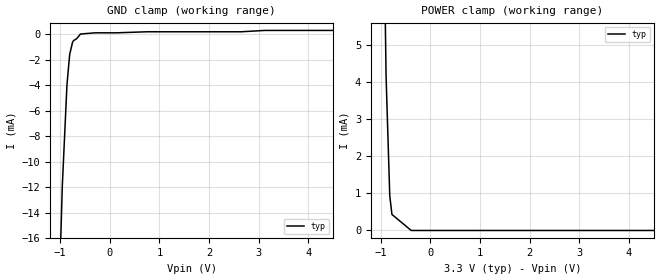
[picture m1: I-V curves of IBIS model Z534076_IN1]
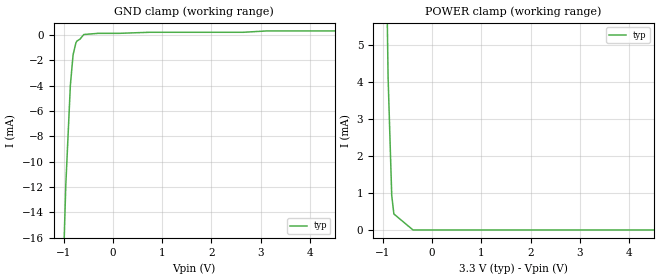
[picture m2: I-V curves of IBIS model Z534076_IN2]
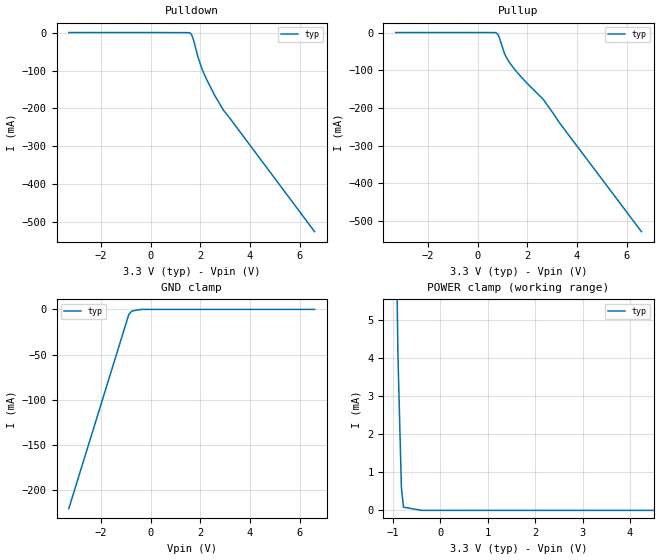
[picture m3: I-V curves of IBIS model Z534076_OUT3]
| YOU ARE ONLY AUTHORIZED TO USE THIS SOFTWARE
| ACCORDING TO LICENSOR'S LICENSE RESTRICTIONS.
[IBIS Ver] 3.1
[File Name] mc100lvel13dw_33.ibs
[File Rev] 3.0
[Source] Derived From mc100lvel17 model
[Date] Monday 2/9/2004
[Copyright]
| (C) COPYRIGHT 1993-2000
| MENTOR GRAPHICS CORPORATION
| ICX STANDARD LIBRARY, ICX PROJECT MODELING,
| ICX CUSTOM MODELING, ICX VENDOR MODEL
| ALL RIGHTS RESERVED.
| THE FOLLOWING ARE TRADEMARKS OR SERVICE MARKS OF
| MENTOR GRAPHICS CORPORATION:ICX (R), ICX STANDARD
| LIBRARY(R), ICX PROJECT MODELING(R), ICX CUSTOM
| MODELING(R), qualityIBIS(TM), MODELVIEWER(TM),
| AND MODELEDITOR(TM)
| ALL COPIES OF SOFTWARE, INCLUDING BUT NOT LIMITED TO
| ANY MODIFICATIONS, ENHANCEMENTS OR DERIVATIVE WORKS,
| MUST CONTAIN ALL MENTOR GRAPHICS CORPORATION'S
| NOTICES AND LEGENDS, INCLUDING THOSE EMBEDDED IN
| SOFTWARE AND THOSE AFFIXED TO SOFTWARE MEDIUM
| AND CONTAINER, AS RECEIVED FROM MENTOR GRAPHICS
| CORPORATION.
|  ZAP Model Builder 2.7
[Component] MC100LVEL13DW_33
[Manufacturer] OnSemiconductor
[Package]
| variable   typ   min   max
R_pkg  .178ohms NA NA
L_pkg  4.43nH NA NA
C_pkg  .62pF NA NA
[Pin] signal_name  model_name  R_pin  L_pin C_pin
1 _Q0a Z534076_OUT3 .178 4.42n .62p
2 Q0a Z534076_OUT3 .182 4.89n .65p
3 VCC POWER .186 5.37n .68p
4 CLKa Z534076_IN1 .174 3.96n .59p
5 _CLKa Z534076_IN2 .17 3.51n .56p
6 CLKb Z534076_IN1 .17 3.51n .56p
7 _CLKb Z534076_IN2 .174 3.96n .59p
8 VCC POWER .186 5.37n .68p
9 _Q0b Z534076_OUT3 .178 4.42n .62p
10 Q0b Z534076_OUT3 .182 4.89n .65p
11 VEE POWER .186 5.37n .68p
12 _Q1b Z534076_OUT3 .182 4.89n .65p
13 Q1b Z534076_OUT3 .178 4.42n .62p
14 _Q2b Z534076_OUT3 .174 3.96n .59p
15 Q2b Z534076_OUT3 .17 3.51n .56p
16 VCC POWER .186 5.37n .68p
17 _Q2a Z534076_OUT3 .17 3.51n .56p
18 Q2a Z534076_OUT3 .174 3.96n .59p
19 _Q1a Z534076_OUT3 .178 4.42n .62p
20 Q1a Z534076_OUT3 .182 4.89n .65p
[Diff Pin] inv_pin vdiff tdelay_typ tdelay_min tdelay_max
1 2 NA .5ns NA NA
4 5 150mv NA NA NA
6 7 150mv NA NA NA
13 12 NA .5ns NA NA
15 14 NA .5ns NA NA
18 17 NA .5ns NA NA
20 19 NA .5ns NA NA
| Models and submodels in the file (3): Z534076_IN1 (Input_ECL), Z534076_IN2 (Input_ECL), Z534076_OUT3 (Output_ECL)
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| (C) COPYRIGHT 1993-2000
| MENTOR GRAPHICS CORPORATION
| ICX STANDARD LIBRARY, ICX PROJECT MODELING,
| ICX CUSTOM MODELING, ICX VENDOR MODEL
| ALL RIGHTS RESERVED.
| THE FOLLOWING ARE TRADEMARKS OR SERVICE MARKS OF
| MENTOR GRAPHICS CORPORATION:ICX (R), ICX STANDARD
| LIBRARY(R), ICX PROJECT MODELING(R), ICX CUSTOM
| MODELING(R), qualityIBIS(TM), MODELVIEWER(TM),
| AND MODELEDITOR(TM)
| ALL COPIES OF SOFTWARE, INCLUDING BUT NOT LIMITED TO
| ANY MODIFICATIONS, ENHANCEMENTS OR DERIVATIVE WORKS,
| MUST CONTAIN ALL MENTOR GRAPHICS CORPORATION'S
| NOTICES AND LEGENDS, INCLUDING THOSE EMBEDDED IN
| SOFTWARE AND THOSE AFFIXED TO SOFTWARE MEDIUM
| AND CONTAINER, AS RECEIVED FROM MENTOR GRAPHICS
| CORPORATION.
| Model Application Version 1.89 2/18/99.
[Model] Z534076_IN1
Model_type Input_ECL
Vinl = 1.825V
Vinh = 2.135V
C_comp 2.000pF NA NA
| variable typ   min   max
[Voltage Range] 3.300V NA NA
[GND Clamp Reference] 0.000V NA NA
[POWER Clamp Reference] 3.300V NA NA
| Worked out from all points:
|   GND clamp passes 1 mA (typ) near -0.77 V on its own axis
|   POWER clamp passes 1 mA (typ) near -0.82 V on its own axis
[GND Clamp]
-3.3V     -423.7mA   NA         NA
-1.044V   -23.23mA   NA         NA
-957mV    -11.84mA   NA         NA
-864mV    -3.967mA   NA         NA
-809.1mV  -1.569mA   NA         NA
-751.9mV  -625.3uA   NA         NA
-732.3mV  -487.5uA   NA         NA
-590.8mV  35.01uA    NA         NA
748.1mV   210.2uA    NA         NA
2.647V    210.2uA    NA         NA
3.122V    316.1uA    NA         NA
6.6V      316.1uA    NA         NA
[POWER Clamp]
-3.3V     757.2mA    NA         NA
-1.069V   27.22mA    NA         NA
-1.005V   14.63mA    NA         NA
-894mV    4.144mA    NA         NA
-820mV    934.9uA    NA         NA
-776mV    432.2uA    NA         NA
-388mV    0A         NA         NA
6.6V      0A         NA         NA
| (C) COPYRIGHT 1993-2000
| MENTOR GRAPHICS CORPORATION
| ICX STANDARD LIBRARY, ICX PROJECT MODELING,
| ICX CUSTOM MODELING, ICX VENDOR MODEL
| ALL RIGHTS RESERVED.
| THE FOLLOWING ARE TRADEMARKS OR SERVICE MARKS OF
| MENTOR GRAPHICS CORPORATION:ICX (R), ICX STANDARD
| LIBRARY(R), ICX PROJECT MODELING(R), ICX CUSTOM
| MODELING(R), qualityIBIS(TM), MODELVIEWER(TM),
| AND MODELEDITOR(TM)
| ALL COPIES OF SOFTWARE, INCLUDING BUT NOT LIMITED TO
| ANY MODIFICATIONS, ENHANCEMENTS OR DERIVATIVE WORKS,
| MUST CONTAIN ALL MENTOR GRAPHICS CORPORATION'S
| NOTICES AND LEGENDS, INCLUDING THOSE EMBEDDED IN
| SOFTWARE AND THOSE AFFIXED TO SOFTWARE MEDIUM
| AND CONTAINER, AS RECEIVED FROM MENTOR GRAPHICS
| CORPORATION.
| Model Application Version 1.89 2/18/99.
[Model] Z534076_IN2
Model_type Input_ECL
Vinl = 2.115V
Vinh = 2.301V
C_comp 2.000pF NA NA
| variable typ   min   max
[Voltage Range] 3.300V NA NA
[GND Clamp Reference] 0.000V NA NA
[POWER Clamp Reference] 3.300V NA NA
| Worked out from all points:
|   GND clamp passes 1 mA (typ) near -0.77 V on its own axis
|   POWER clamp passes 1 mA (typ) near -0.82 V on its own axis
[GND Clamp]
-3.3V     -423.7mA   NA         NA
-1.044V   -23.23mA   NA         NA
-957mV    -11.84mA   NA         NA
-864mV    -3.967mA   NA         NA
-809.1mV  -1.569mA   NA         NA
-751.9mV  -625.3uA   NA         NA
-732.3mV  -487.5uA   NA         NA
-590.8mV  35.01uA    NA         NA
748.1mV   210.2uA    NA         NA
2.647V    210.2uA    NA         NA
3.122V    316.1uA    NA         NA
6.6V      316.1uA    NA         NA
[POWER Clamp]
-3.3V     757.2mA    NA         NA
-1.069V   27.22mA    NA         NA
-1.005V   14.63mA    NA         NA
-894mV    4.144mA    NA         NA
-820mV    934.9uA    NA         NA
-776mV    432.2uA    NA         NA
-388mV    0A         NA         NA
6.6V      0A         NA         NA
| (C) COPYRIGHT 1993-2000
| MENTOR GRAPHICS CORPORATION
| ICX STANDARD LIBRARY, ICX PROJECT MODELING,
| ICX CUSTOM MODELING, ICX VENDOR MODEL
| ALL RIGHTS RESERVED.
| THE FOLLOWING ARE TRADEMARKS OR SERVICE MARKS OF
| MENTOR GRAPHICS CORPORATION:ICX (R), ICX STANDARD
| LIBRARY(R), ICX PROJECT MODELING(R), ICX CUSTOM
| MODELING(R), qualityIBIS(TM), MODELVIEWER(TM),
| AND MODELEDITOR(TM)
| ALL COPIES OF SOFTWARE, INCLUDING BUT NOT LIMITED TO
| ANY MODIFICATIONS, ENHANCEMENTS OR DERIVATIVE WORKS,
| MUST CONTAIN ALL MENTOR GRAPHICS CORPORATION'S
| NOTICES AND LEGENDS, INCLUDING THOSE EMBEDDED IN
| SOFTWARE AND THOSE AFFIXED TO SOFTWARE MEDIUM
| AND CONTAINER, AS RECEIVED FROM MENTOR GRAPHICS
| CORPORATION.
| Model Application Version 1.89 2/18/99.
[Model] Z534076_OUT3
Model_type Output_ECL
Vref=0.000V
Rref=50.00ohms
Cref=0.000F
Vmeas=2.207V
C_comp 2.000pF NA NA
| variable typ   min   max
[Voltage Range] 3.300V NA NA
[POWER Clamp Reference] 3.300V NA NA
[Pullup Reference] 3.300V NA NA
[Pulldown Reference] 3.300V NA NA
[GND Clamp Reference] 0.000V NA NA
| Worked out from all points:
|   POWER clamp passes 1 mA (typ) near -0.83 V on its own axis
[GND Clamp]
-3.3V     -220.6mA   NA         NA
-885.8mV  -5.811mA   NA         NA
-761.4mV  -1.812mA   NA         NA
-380.7mV  0A         NA         NA
6.6V      0A         NA         NA
[Pulldown]
-3.3V     277.2uA    NA         NA
1.595V    -1.533mA   NA         NA
1.65V     -6.019mA   NA         NA
1.718V    -18.2mA    NA         NA
1.905V    -64.74mA   NA         NA
2.07V     -96.83mA   NA         NA
2.26V     -124.9mA   NA         NA
2.573V    -165.2mA   NA         NA
2.929V    -204.6mA   NA         NA
6.6V      -525.1mA   NA         NA
[Pullup]
-3.3V     263.4uA    NA         NA
680mV     110.2uA    NA         NA
795mV     -2.69mA    NA         NA
868mV     -11.63mA   NA         NA
1.078V    -54.63mA   NA         NA
1.29V     -80.11mA   NA         NA
1.747V    -116.9mA   NA         NA
2.679V    -180.3mA   NA         NA
3.291V    -238.7mA   NA         NA
6.6V      -528.1mA   NA         NA
[POWER Clamp]
-3.3V     560.9mA    NA         NA
-1.072V   24.39mA    NA         NA
-1.005V   14.48mA    NA         NA
-894mV    4.104mA    NA         NA
-821mV    617.7uA    NA         NA
-777mV    83.4uA     NA         NA
-388.5mV  0A         NA         NA
6.6V      0A         NA         NA
[Ramp]
| variable typ min max
dV/dt_r 486.8m/169.8p NA NA
dV/dt_f 486.8m/178.4p NA NA
R_load = 50.0Ohms
